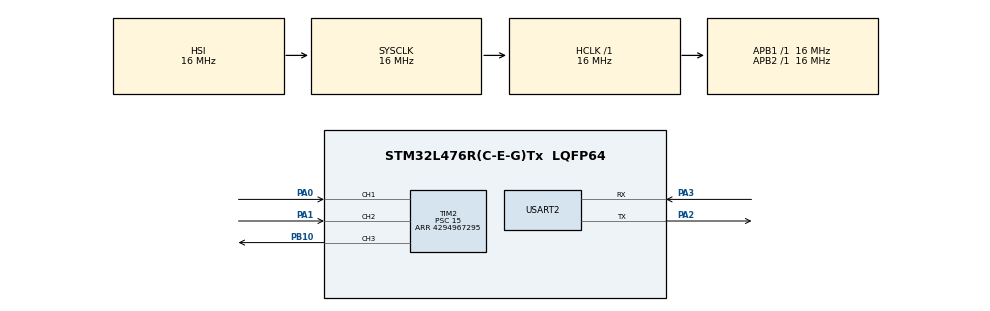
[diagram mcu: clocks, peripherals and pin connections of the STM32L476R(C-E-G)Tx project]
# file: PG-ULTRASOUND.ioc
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Mcu.Family=STM32L4
Mcu.Name=STM32L476R(C-E-G)Tx
Mcu.Package=LQFP64
NVIC.PriorityGroup=NVIC_PRIORITYGROUP_4
NVIC.TIM2_IRQn=true\:0\:0\:false\:false\:true\:true\:true
PA0.Signal=S_TIM2_CH1
PA1.Signal=S_TIM2_CH2
PA2.Mode=Asynchronous
PA2.Signal=USART2_TX
PA3.Mode=Asynchronous
PA3.Signal=USART2_RX
PB10.Signal=S_TIM2_CH3
ProjectManager.HeapSize=0x200
ProjectManager.StackSize=0x400
ProjectManager.TargetToolchain=STM32CubeIDE
RCC.ADCFreq_Value=16000000
RCC.AHBFreq_Value=16000000
RCC.APB1Freq_Value=16000000
RCC.APB1TimFreq_Value=16000000
RCC.APB2Freq_Value=16000000
RCC.APB2TimFreq_Value=16000000
RCC.CortexFreq_Value=16000000
RCC.HCLKFreq_Value=16000000
RCC.HSE_VALUE=8000000
RCC.HSI_VALUE=16000000
RCC.LSE_VALUE=32768
RCC.MSI_VALUE=4000000
RCC.SYSCLKFreq_VALUE=16000000
RCC.SYSCLKSource=RCC_SYSCLKSOURCE_HSI
RCC.USBFreq_Value=16000000
RCC.VCOOutputFreq_Value=32000000
SH.S_TIM2_CH1.0=TIM2_CH1,Input_Capture1_from_TI1
SH.S_TIM2_CH2.0=TIM2_CH2,Input_Capture2_from_TI2
SH.S_TIM2_CH3.0=TIM2_CH3,Output Compare3 CH3
TIM2.Channel-Input_Capture1_from_TI1=TIM_CHANNEL_1
TIM2.Channel-Input_Capture2_from_TI2=TIM_CHANNEL_2
TIM2.Channel-Output\ Compare3\ CH3=TIM_CHANNEL_3
TIM2.ICPolarity_CH2=TIM_INPUTCHANNELPOLARITY_FALLING
TIM2.OCMode_3=TIM_OCMODE_INACTIVE
TIM2.Period=4294967295
TIM2.Prescaler=15
TIM2.Pulse-Output\ Compare3\ CH3=9
USART2.VirtualMode-Asynchronous=VM_ASYNC
VP_TIM2_VS_ClockSourceINT.Mode=Internal
board=custom

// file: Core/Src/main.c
/* USER CODE BEGIN Header */
/**
  ******************************************************************************
  * @file           : main.c
  * @brief          : Main program body
  ******************************************************************************
  * @attention
  *
  * <h2><center>&copy; Copyright (c) 2021 STMicroelectronics.
  * All rights reserved.</center></h2>
  *
  * This software component is licensed by ST under BSD 3-Clause license,
  * the "License"; You may not use this file except in compliance with the
  * License. You may obtain a copy of the License at:
  *                        opensource.org/licenses/BSD-3-Clause
  *
  ******************************************************************************
  */
/* USER CODE END Header */
#include "main.h"

/* USER CODE BEGIN Includes */
#include "math.h"
#include "stdio.h"
/* USER CODE END Includes */

TIM_HandleTypeDef htim2;

UART_HandleTypeDef huart2;

/* USER CODE BEGIN PV */
uint8_t str[256];
int n;
uint32_t input_delta;
/* USER CODE END PV */

void SystemClock_Config(void);
static void MX_GPIO_Init(void);
static void MX_TIM2_Init(void);
static void MX_USART2_UART_Init(void);

int main(void)
{

  /* MCU Configuration--------------------------------------------------------*/

  /* Reset of all peripherals, Initializes the Flash interface and the Systick. */
  HAL_Init();

  /* Configure the system clock */
  SystemClock_Config();

  /* Initialize all configured peripherals */
  MX_GPIO_Init();
  MX_TIM2_Init();
  MX_USART2_UART_Init();
  /* USER CODE BEGIN 2 */
  n = sprintf((char*) str, "Project G - Ultrasound by Chris Abajian (cxa6282@rit.edu)\r\n");
  HAL_UART_Transmit(&huart2, str, n, 100);
  n = sprintf((char*) str, "Performing POST...");
  HAL_UART_Transmit(&huart2, str, n, 100);
  int res = ultrasonic_post();
//  while (!res) {}
  /* USER CODE END 2 */

  /* Infinite loop */
  /* USER CODE BEGIN WHILE */
  while (1)
  {
	// Capture a single measurement.
	n = sprintf((char*) str, "\r\nCapturing 1 measurement...\r\n");
	HAL_UART_Transmit(&huart2, str, n, 100);
	int dist = ultrasound_capture();
	if (dist > 0) {
	  n = sprintf((char*) str, "Distance: %d\r\n", dist);
	} else {
      n = sprintf((char*) str, "Distance: ***\r\n");
	}
	HAL_UART_Transmit(&huart2, str, n, 100);

	// Wait to continue.
	n = sprintf((char*) str, "Press any key to continue...\r\n");
	HAL_UART_Transmit(&huart2, str, n, 100);
	HAL_UART_Receive(&huart2, str, 1, 1000000);

	// Capture 100 measurements.
    n = sprintf((char*) str, "Capturing 100 measurements...\r\n");
    HAL_UART_Transmit(&huart2, str, n, 100);
    int i = 0;
    int measurements[100] = {0};
    while (i < 100) {
      int dist = ultrasound_capture();
      if (huart2.Instance->ISR & USART_ISR_RXNE) {
    	// Keystroke pressed, discard this sample and exit.
    	n = sprintf((char*) str, "Keyboard interrupt received\r\n");
		HAL_UART_Transmit(&huart2, str, n, 100);
    	break;
      } else {
    	// Save this datapoint if it's valid.
    	if (dist > 0) {
    	  measurements[i] = dist;
    	}
      }
      i++;
    }

    // Display the datapoints and calculate statistics.
	n = sprintf((char*) str, "Displaying results:\r\n");
	HAL_UART_Transmit(&huart2, str, n, 100);
	int min = 0;
	int max = 0;
	int mean = 0;
	int median = (measurements[i/2-1] + measurements[i/2])/2;
	for (int j = 0; j < i; j++) {
	  int val = measurements[j];
	  n = sprintf((char*) str, "%d,%d\r\n", j+1, val);
	  HAL_UART_Transmit(&huart2, str, n, 100);
	  min = (val < min ? val : min);
	  max = (val > max ? val : max);
	  mean += val;
	}
	mean /= i;
	float stddev = 0;
	for (int j = 0; j < i; j++) {
	  int val = measurements[j];
	  stddev += (val - mean) * (val - mean);
	}
	stddev = sqrt(stddev/i);

    // Display the statistics.
	n = sprintf((char*) str, "Maximum,%d\r\n", max);
	HAL_UART_Transmit(&huart2, str, n, 100);
	n = sprintf((char*) str, "Minimum,%d\r\n", min);
	HAL_UART_Transmit(&huart2, str, n, 100);
	n = sprintf((char*) str, "Mean,%d\r\n", mean);
	HAL_UART_Transmit(&huart2, str, n, 100);
	n = sprintf((char*) str, "Median,%d\r\n", median);
	HAL_UART_Transmit(&huart2, str, n, 100);
	n = sprintf((char*) str, "Stddev,%0.2f\r\n", stddev);
	HAL_UART_Transmit(&huart2, str, n, 100);

	// Wait to continue.
	n = sprintf((char*) str, "Press any key to continue...\r\n");
	HAL_UART_Transmit(&huart2, str, n, 100);
	HAL_UART_Receive(&huart2, str, 1, 1000000);
    /* USER CODE END WHILE */

  }
}

void SystemClock_Config(void)
{
  RCC_OscInitTypeDef RCC_OscInitStruct = {0};
  RCC_ClkInitTypeDef RCC_ClkInitStruct = {0};

  /** Configure the main internal regulator output voltage
  */
  if (HAL_PWREx_ControlVoltageScaling(PWR_REGULATOR_VOLTAGE_SCALE1) != HAL_OK)
  {
    Error_Handler();
  }
  /** Initializes the RCC Oscillators according to the specified parameters
  * in the RCC_OscInitTypeDef structure.
  */
  RCC_OscInitStruct.OscillatorType = RCC_OSCILLATORTYPE_HSI;
  RCC_OscInitStruct.HSIState = RCC_HSI_ON;
  RCC_OscInitStruct.HSICalibrationValue = RCC_HSICALIBRATION_DEFAULT;
  RCC_OscInitStruct.PLL.PLLState = RCC_PLL_NONE;
  if (HAL_RCC_OscConfig(&RCC_OscInitStruct) != HAL_OK)
  {
    Error_Handler();
  }
  /** Initializes the CPU, AHB and APB buses clocks
  */
  RCC_ClkInitStruct.ClockType = RCC_CLOCKTYPE_HCLK|RCC_CLOCKTYPE_SYSCLK
                              |RCC_CLOCKTYPE_PCLK1|RCC_CLOCKTYPE_PCLK2;
  RCC_ClkInitStruct.SYSCLKSource = RCC_SYSCLKSOURCE_HSI;
  RCC_ClkInitStruct.AHBCLKDivider = RCC_SYSCLK_DIV1;
  RCC_ClkInitStruct.APB1CLKDivider = RCC_HCLK_DIV1;
  RCC_ClkInitStruct.APB2CLKDivider = RCC_HCLK_DIV1;

  if (HAL_RCC_ClockConfig(&RCC_ClkInitStruct, FLASH_LATENCY_0) != HAL_OK)
  {
    Error_Handler();
  }
}

static void MX_TIM2_Init(void)
{

  TIM_ClockConfigTypeDef sClockSourceConfig = {0};
  TIM_MasterConfigTypeDef sMasterConfig = {0};
  TIM_IC_InitTypeDef sConfigIC = {0};
  TIM_OC_InitTypeDef sConfigOC = {0};

  htim2.Instance = TIM2;
  htim2.Init.Prescaler = 15;
  htim2.Init.CounterMode = TIM_COUNTERMODE_UP;
  htim2.Init.Period = 4294967295;
  htim2.Init.ClockDivision = TIM_CLOCKDIVISION_DIV1;
  htim2.Init.AutoReloadPreload = TIM_AUTORELOAD_PRELOAD_DISABLE;
  if (HAL_TIM_Base_Init(&htim2) != HAL_OK)
  {
    Error_Handler();
  }
  sClockSourceConfig.ClockSource = TIM_CLOCKSOURCE_INTERNAL;
  if (HAL_TIM_ConfigClockSource(&htim2, &sClockSourceConfig) != HAL_OK)
  {
    Error_Handler();
  }
  if (HAL_TIM_IC_Init(&htim2) != HAL_OK)
  {
    Error_Handler();
  }
  if (HAL_TIM_OC_Init(&htim2) != HAL_OK)
  {
    Error_Handler();
  }
  sMasterConfig.MasterOutputTrigger = TIM_TRGO_RESET;
  sMasterConfig.MasterSlaveMode = TIM_MASTERSLAVEMODE_DISABLE;
  if (HAL_TIMEx_MasterConfigSynchronization(&htim2, &sMasterConfig) != HAL_OK)
  {
    Error_Handler();
  }
  sConfigIC.ICPolarity = TIM_INPUTCHANNELPOLARITY_RISING;
  sConfigIC.ICSelection = TIM_ICSELECTION_DIRECTTI;
  sConfigIC.ICPrescaler = TIM_ICPSC_DIV1;
  sConfigIC.ICFilter = 0;
  if (HAL_TIM_IC_ConfigChannel(&htim2, &sConfigIC, TIM_CHANNEL_1) != HAL_OK)
  {
    Error_Handler();
  }
  sConfigIC.ICPolarity = TIM_INPUTCHANNELPOLARITY_FALLING;
  if (HAL_TIM_IC_ConfigChannel(&htim2, &sConfigIC, TIM_CHANNEL_2) != HAL_OK)
  {
    Error_Handler();
  }
  sConfigOC.OCMode = TIM_OCMODE_INACTIVE;
  sConfigOC.Pulse = 9;
  sConfigOC.OCPolarity = TIM_OCPOLARITY_HIGH;
  sConfigOC.OCFastMode = TIM_OCFAST_DISABLE;
  if (HAL_TIM_OC_ConfigChannel(&htim2, &sConfigOC, TIM_CHANNEL_3) != HAL_OK)
  {
    Error_Handler();
  }
  /* USER CODE BEGIN TIM2_Init 2 */
  // NVIC
  NVIC_EnableIRQ(TIM2_IRQn);
  // Clear interrupts.
  htim2.Instance->SR = 0;
  // Enable interrupts.
  htim2.Instance->DIER |= TIM_DIER_CC2IE;
  /* USER CODE END TIM2_Init 2 */
  HAL_TIM_MspPostInit(&htim2);

}

static void MX_USART2_UART_Init(void)
{

  huart2.Instance = USART2;
  huart2.Init.BaudRate = 115200;
  huart2.Init.WordLength = UART_WORDLENGTH_8B;
  huart2.Init.StopBits = UART_STOPBITS_1;
  huart2.Init.Parity = UART_PARITY_NONE;
  huart2.Init.Mode = UART_MODE_TX_RX;
  huart2.Init.HwFlowCtl = UART_HWCONTROL_NONE;
  huart2.Init.OverSampling = UART_OVERSAMPLING_16;
  huart2.Init.OneBitSampling = UART_ONE_BIT_SAMPLE_DISABLE;
  huart2.AdvancedInit.AdvFeatureInit = UART_ADVFEATURE_NO_INIT;
  if (HAL_UART_Init(&huart2) != HAL_OK)
  {
    Error_Handler();
  }

}

static void MX_GPIO_Init(void)
{

  /* GPIO Ports Clock Enable */
  __HAL_RCC_GPIOA_CLK_ENABLE();
  __HAL_RCC_GPIOB_CLK_ENABLE();

}

/* USER CODE BEGIN 4 */
int ultrasonic_post() {
	while (1) {
		ultrasound_capture();
		// Check delta and confirm pass/fail.
		if ((input_delta >= 300) && (input_delta <= 1000)) {
			// Success.
			n = sprintf((char*) str, "success\r\n");
			HAL_UART_Transmit(&huart2, str, n, 100);
			return 1;
		} else {
			// Fail.
			n = sprintf((char*) str, "fail. ");
			HAL_UART_Transmit(&huart2, str, n, 100);
			if (input_delta < 300) {
				n = sprintf((char*) str, "Object too close. Retry? (y/n): ");
			} else {
				n = sprintf((char*) str, "Object too far. Retry? (y/n): ");
			}
			HAL_UART_Transmit(&huart2, str, n, 100);
			uint8_t c;
			HAL_UART_Receive(&huart2, &c, 1, 1000000);
			n = sprintf((char*) str, "%c\r\n", c);
			HAL_UART_Transmit(&huart2, str, n, 100);
			if ((c == 'n') || (c == 'N')) {
				return 0;
			}
		}
	}
}

int ultrasound_capture() {
	// Clear input delta.
	input_delta = 0;
	// Start the timer.
	htim2.Instance->CNT = 0;
	htim2.Instance->SR = 0;
	HAL_TIM_Base_Start(&htim2);
	// Wait 100ms.
	while (htim2.Instance->CNT < 100000) {}
	// Stop the timer.
	HAL_TIM_Base_Stop(&htim2);
	// Return the distance if in-bounds.
	int dist = (float)input_delta * 0.346f;
    if (dist == 0) {
    	// Timeout.
    	return 0;
    } else if ((dist < 50) || (dist > 1000)) {
    	// Out-of-bounds.
    	return -1;
    } else {
    	// Valid.
    	return dist;
    }
}
/* USER CODE END 4 */

void Error_Handler(void)
{
  __disable_irq();
  while (1)
  {
  }
}

/************************ (C) COPYRIGHT STMicroelectronics *****END OF FILE****/
